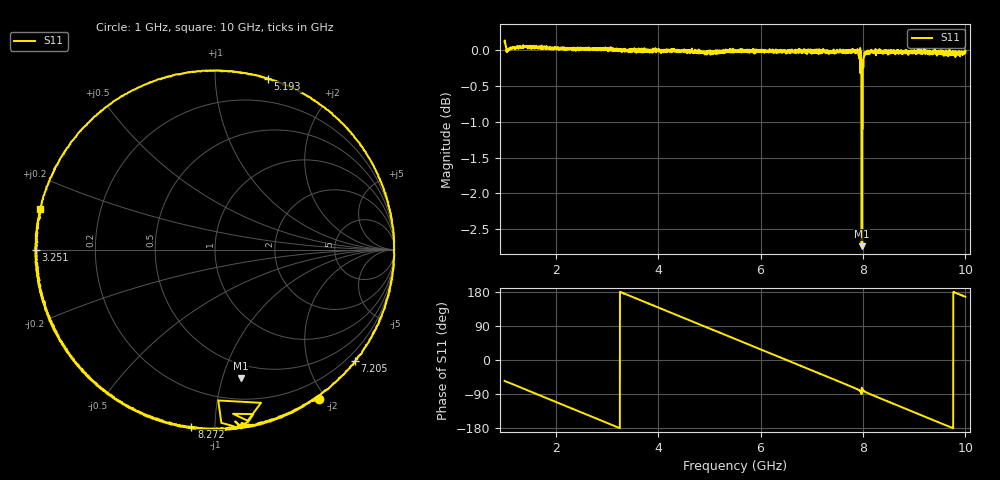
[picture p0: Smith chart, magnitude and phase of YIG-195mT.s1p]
#  HZ  S  RI  R  50.0
! Rohde & Schwarz ZVL13 2Ports - Version 3.31 - 1303.6509k13 SN: 101088
! Date: 2023-03-02 17:01:58
! Data & Calibration Information:
! Trc2:S21(Trans Norm)
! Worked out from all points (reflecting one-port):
!   4000 points, 1 GHz to 10 GHz, reference 50 ohm
!   lowest |S11| = -2.7 dB at 7.974 GHz (marker M1), VSWR 6.40, Z = 18.8 - j57.5 ohm
!   phase of S11 starts at -55 deg and turns -498 deg over the sweep
!   S11 on the Smith chart (normalised r, x): 1 GHz: -0.03, -1.92; 3.251 GHz: 0.00, -0.00; 5.193 GHz: 0.01, +1.36; 7.205 GHz: 0.01, -2.86; 8.272 GHz: 0.00, -0.88; 10 GHz: 0.00, +0.12
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1e9  0.5796 -0.8319
1.578395e9  0.0482 -1.003
1.846212e9  -0.2105 -0.981
2.125281e9  -0.4644 -0.8878
2.723931e9  -0.8722 -0.4912
2.989497e9  -0.9696 -0.2513
3.250563e9  -0.9988 -0.0012
3.513878e9  -0.9684 0.2491
3.786197e9  -0.868 0.4916
4.375844e9  -0.4659 0.8843
4.780945e9  -0.0916 0.9945
5.192798e9  0.2955 0.9512
5.501125e9  0.5629 0.8234
6.066017e9  0.9097 0.4102
6.35859e9  0.987 0.1441
6.626407e9  0.9922 -0.1155
6.909977e9  0.9214 -0.3795
7.204801e9  0.7799 -0.6224
7.751688e9  0.3557 -0.9305
7.974494e9  0.1438 -0.7155
8.021755e9  0.1301 -0.9804
8.271568e9  -0.1311 -0.9879
8.575394e9  -0.4109 -0.9079
8.876969e9  -0.6578 -0.7499
9.174044e9  -0.8415 -0.5347
9.43961e9  -0.9478 -0.303
9.71868e9  -0.993 -0.0405
1e10  -0.9697 0.2283
